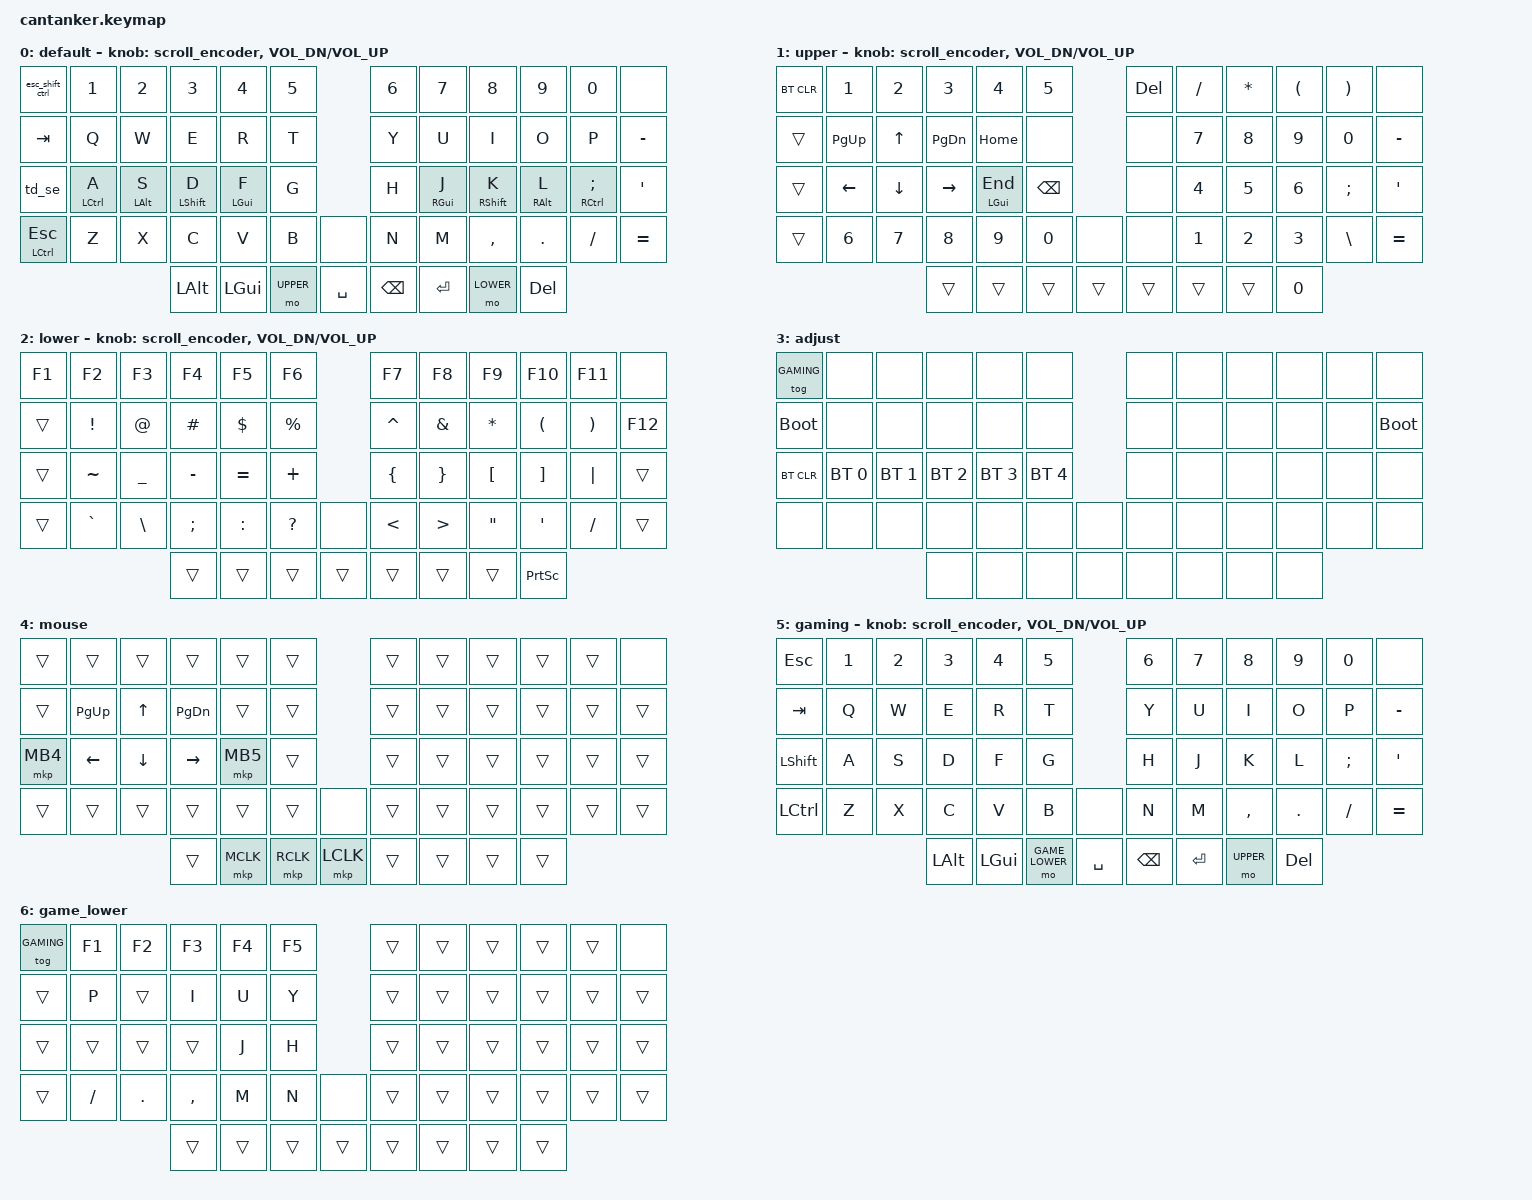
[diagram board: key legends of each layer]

#include <behaviors.dtsi>
#include <dt-bindings/zmk/keys.h>
#include <dt-bindings/zmk/bt.h>
#include <dt-bindings/zmk/ext_power.h>
#define ZMK_POINTING_DEFAULT_MOVE_VAL 600  // default: 600
#define ZMK_POINTING_DEFAULT_SCRL_VAL 240   // default: 10
#include <dt-bindings/zmk/pointing.h>

#define BASE 0
#define UPPER 1
#define LOWER 2
#define ADJUST 3
#define MOUSE 4
#define GAMING 5
#define GAME_LOWER 6

#define COMBO_TIMEOUT_MS 18

/ {

    macros {
        paren_macro: paren_macro {
            compatible = "zmk,behavior-macro";
            #binding-cells = <0>;
            wait-ms = <30>;
            tap-ms = <30>;
            bindings = <&kp LPAR &kp RPAR &kp LEFT>;
        };

        brkt_macro: brkt_macro {
            compatible = "zmk,behavior-macro";
            #binding-cells = <0>;
            wait-ms = <30>;
            tap-ms = <30>;
            bindings = <&kp LBKT &kp RBKT &kp LEFT>;
        };

        brace_macro: brace_macro {
            compatible = "zmk,behavior-macro";
            #binding-cells = <0>;
            wait-ms = <30>;
            tap-ms = <30>;
            bindings = <&kp LBRC &kp RBRC &kp LEFT>;
        };

        angle_macro: angle_macro {
            compatible = "zmk,behavior-macro";
            #binding-cells = <0>;
            wait-ms = <30>;
            tap-ms = <30>;
            bindings = <&kp LT &kp GT &kp LEFT>;
        };
    };

    combos {
        compatible = "zmk,combos";

        combo_lt_extend {
            timeout-ms = <COMBO_TIMEOUT_MS>;
            key-positions = <30 31>; // H + J
            bindings = <&angle_macro>;
        };
        combo_lt {
            timeout-ms = <COMBO_TIMEOUT_MS>;
            key-positions = <18 19>; // Y + U
            bindings = <&kp LT>;
        };
        combo_gt {
            timeout-ms = <COMBO_TIMEOUT_MS>;
            key-positions = <43 44>; // N + M
            bindings = <&kp GT>;
        };
        
        combo_lbrc_extend {
            timeout-ms = <COMBO_TIMEOUT_MS>;
            key-positions = <31 32>; // J + K
            bindings = <&brace_macro>; 
        };
        combo_lbrc {
            timeout-ms = <COMBO_TIMEOUT_MS>;
            key-positions = <19 20>; // U + I
            bindings = <&kp LBRC>; 
        };
        combo_rbrc {
            timeout-ms = <COMBO_TIMEOUT_MS>;
            key-positions = <44 45>; // M + ,
            bindings = <&kp RBRC>;
        };

        combo_lbkt_extend {
            timeout-ms = <COMBO_TIMEOUT_MS>;
            key-positions = <32 33>; // K + L
            bindings = <&brkt_macro>; 
        };
        combo_lbkt {
            timeout-ms = <COMBO_TIMEOUT_MS>;
            key-positions = <20 21>; // I + O
            bindings = <&kp LBKT>; 
        };
        combo_rbkt {
            timeout-ms = <COMBO_TIMEOUT_MS>;
            key-positions = <45 46>; // , + .
            bindings = <&kp RBKT>;
        };

        combo_lpar_extend {
            timeout-ms = <COMBO_TIMEOUT_MS>;
            key-positions = <33 34>; // L + ;
            bindings = <&paren_macro>;
        };
        combo_lpar {
            timeout-ms = <COMBO_TIMEOUT_MS>;
            key-positions = <21 22>; // O + P
            bindings = <&kp LPAR>;
        };
        combo_rpar {
            timeout-ms = <COMBO_TIMEOUT_MS>;
            key-positions = <46 47>; // . + /
            bindings = <&kp RPAR>;
        };
    };

    behaviors {
        scroll_encoder: scroll_encoder {
            compatible = "zmk,behavior-sensor-rotate";
            #sensor-binding-cells = <0>;
            bindings = <&msc SCRL_DOWN>, <&msc SCRL_UP>;
            tap-ms = <30>;
        };

        // Tap-Dance (Tap/Hold = Shift | Double-Tap/Hold = Super)
        td_se: tap_dance_shift_esc {
            compatible = "zmk,behavior-tap-dance";
            #binding-cells = <0>;
            tapping-term-ms = <200>;
            bindings = <&kp LSHIFT>, <&kp ESC>;
        };

        // Custom Home Row Mod (Tuned so you don't accidentally trigger modifiers when typing fast)
        hm: homerow_mods {
            compatible = "zmk,behavior-hold-tap";
            #binding-cells = <2>;
            tapping-term-ms = <250>;
            quick-tap-ms = <0>;
            flavor = "tap-preferred";

            // NEW: Prevents accidental modifiers during fast typing
            require-prior-idle-ms = <200>;

            bindings = <&kp>, <&kp>;
        };

        esc_ctrl: esc_ctrl_morph {
            compatible = "zmk,behavior-mod-morph";
            #binding-cells = <0>;
            bindings = <&kp ESC>, <&kp GRAVE>;
            mods = <(MOD_LCTL|MOD_RCTL)>;
        };

        // FIXED Morph 2: Tilde (~) on Shift + tap. If no Shift, fallback to Morph 1
        esc_shift_ctrl: esc_shift_ctrl_morph {
            compatible = "zmk,behavior-mod-morph";
            #binding-cells = <0>;
            bindings = <&esc_ctrl>, <&kp TILDE>;
            mods = <(MOD_LSFT|MOD_RSFT)>;
        };
    };

    conditional_layers {
        compatible = "zmk,conditional-layers";
        adjust_layer {
            if-layers = <LOWER UPPER>;
            then-layer = <ADJUST>;
        };
    };

    keymap {
        compatible = "zmk,keymap";

        default_layer {
            display-name = "default";
// ------------------------------------------------------------------------------------------------------------
// |  ESC   |  1  |  2  |  3   |  4   |  5   |                   |  6    |  7    |  8    |  9   |   0   |  NA   |
// |  TAB   |  Q  |  W  |  E   |  R   |  T   |                   |  Y    |  U    |  I    |  O   |   P   |   -   |
// |  SHIFT |  A  |  S  |  D   |  F   |  G   |                   |  H    |  J    |  K    |  L   |   ;   |   '   |
// |  CTRL  |  Z  |  X  |  C   |  V   |  B   |   NA   |          |  N    |  M    |  ,    |  .   |   /   | EQUAL |
//                      | ALT | GUI  | UPPER |  SPACE |  | SPACE | ENTER | LOWER |  DEL  |
            bindings = <
&esc_shift_ctrl     &kp N1          &kp N2          &kp N3          &kp N4          &kp N5                              &kp N6          &kp N7          &kp N8          &kp N9      &kp N0          &none
&kp TAB             &kp Q           &kp W           &kp E           &kp R           &kp T                               &kp Y           &kp U           &kp I           &kp O       &kp P           &kp MINUS
&td_se              &hm LCTRL A     &hm LALT S      &hm LSHIFT D    &hm LGUI F      &kp G                               &kp H           &hm RGUI J      &hm RSHIFT K    &hm RALT L  &hm RCTRL SEMI   &kp SQT
&mt LCTRL ESC       &kp Z           &kp X           &kp C           &kp V           &kp B       &none                   &kp N           &kp M           &kp COMMA       &kp DOT     &kp FSLH        &kp EQUAL
                                                    &kp LALT        &kp LGUI        &mo UPPER   &kp SPACE   &kp BSPC    &kp RET         &mo LOWER       &kp DEL
                        >;

            sensor-bindings = <&scroll_encoder &inc_dec_kp C_VOL_DN C_VOL_UP>;
        };

        upper_layer {
            display-name = "upper";
// CAPS = caps lock but it auto detects the end via space, escape, enter
// ------------------------------------------------------------------------------------------------------------
// |  BTCLEAR   |  1     |  2      |  3        |  4    |  5    |                    |  DEL   |  /    |  *    |  (   |   )   |  NA   |
// |  BOOT      |  PGUP  |  UP     |  PGDN     |  HOME |  NA   |                    |  NA    |  7    |  8    |  9   |   -   |   -   |
// |  T         |  LEFT  |  DOWN   |  RIGHT    |  END  |  NA   |                    |  NA    |  4    |  5    |  6   |   +   |   '   |
// |  T         |  6     |  7      |  8        |  9    |  0    |   NA   |           |  NA    |  1    |  2    |  3   |   /   | EQUAL |
//                                 | T         | CAPS  | T     |  T     |   | T     |  T     |  T    |  0    |
            bindings = <
&bt BT_CLR  &kp N1      &kp N2      &kp N3      &kp N4          &kp N5                      &kp DEL     &kp FSLH    &kp ASTRK   &kp LPAR    &kp RPAR  &none
&trans      &kp PG_UP   &kp UP      &kp PG_DN   &kp HOME        &none                       &none       &kp N7      &kp N8      &kp N9      &kp N0    &kp MINUS
&trans      &kp LEFT    &kp DOWN    &kp RIGHT   &hm LGUI END    &kp BSPC                    &none       &kp N4      &kp N5      &kp N6      &kp SEMI  &kp SQT
&trans      &kp N6      &kp N7      &kp N8      &kp N9          &kp N0  &none               &none       &kp N1      &kp N2      &kp N3      &kp BSLH  &kp EQUAL
                                    &trans      &trans          &trans  &trans      &trans  &trans      &trans      &kp N0>;

            sensor-bindings = <&scroll_encoder &inc_dec_kp C_VOL_DN C_VOL_UP>;
        };
        
        lower_layer {
            display-name = "lower";
// ------------------------------------------------------------------------------------------------------------
// |  F1  |  F2 |  F3 |  F4  |  F5  |  F6  |                   |  F7   |  F8   |  F9  |  F10  |  F11  |  NA   |
// |  T   |  !  |  @  |  #   |  $   |  %   |                   |  ^    |  &    |  *    |  (   |   )   |  F12  |
// | CAPS |  ~  |  _  |  -   |  =   |  +   |                   |  {    |  }    |  [    |  ]   |   |   |   T   |
// |  T   |  `  |  \  |  ;   |  :   |  ?   |   NA   |  |       |  <    |  >    |  "    |  '   |   /   | BOOT  |
//                    |  T   |  T   | T    |  T     |  | T     |  T    |  T    | PSCRN |
            bindings = <
&kp F1     &kp F2     &kp F3      &kp F4      &kp F5     &kp F6                                       &kp F7      &kp F8      &kp F9      &kp F10     &kp F11     &none
&trans     &kp EXCL   &kp AT      &kp HASH    &kp DLLR    &kp PRCNT                                   &kp CARET   &kp AMPS    &kp ASTRK   &kp LPAR    &kp RPAR    &kp F12
&trans     &kp TILDE  &kp UNDER   &kp MINUS   &kp EQUAL   &kp PLUS                                    &kp LBRC    &kp RBRC    &kp LBKT    &kp RBKT    &kp PIPE    &trans
&trans     &kp GRAVE  &kp BSLH    &kp SEMI    &kp COLON   &kp QMARK   &none                           &kp LT      &kp GT      &kp DQT     &kp SQT     &kp FSLH    &trans
                                  &trans      &trans      &trans      &trans              &trans      &trans      &trans      &kp PSCRN
            >;
            sensor-bindings = <&scroll_encoder &inc_dec_kp C_VOL_DN C_VOL_UP>;
        };

        adjust_layer {
            display-name = "adjust";
            bindings = <
&tog GAMING  &none        &none        &none        &none        &none                         &none &none &none &none &none &none
&bootloader  &none        &none        &none        &none        &none                         &none &none &none &none &none &bootloader
&bt BT_CLR   &bt BT_SEL 0 &bt BT_SEL 1 &bt BT_SEL 2 &bt BT_SEL 3 &bt BT_SEL 4                  &none &none &none &none &none &none
&none        &none        &none        &none        &none        &none         &none           &none &none &none &none &none &none
                                       &none        &none        &none         &none    &none  &none &none &none
            >;
        };

        mouse_layer {
            display-name = "mouse";
            bindings = <
&trans      &trans          &trans          &trans          &trans          &trans                              &trans &trans &trans &trans &trans &none
&trans      &kp PG_UP       &kp UP          &kp PG_DN       &trans          &trans                              &trans &trans &trans &trans &trans &trans
&mkp MB4    &kp LEFT        &kp DOWN        &kp RIGHT       &mkp MB5        &trans                              &trans &trans &trans &trans &trans &trans
&trans      &trans          &trans          &trans          &trans          &trans         &none                &trans &trans &trans &trans &trans &trans
                                            &trans          &mkp MCLK       &mkp RCLK      &mkp LCLK    &trans  &trans &trans &trans
            >;
        };

        gaming_layer {
            display-name = "gaming";
            bindings = <
&kp ESC    &kp N1 &kp N2 &kp N3 &kp N4 &kp N5                                   &kp N6 &kp N7 &kp N8 &kp N9 &kp N0 &none
&kp TAB    &kp Q  &kp W  &kp E  &kp R  &kp T                                    &kp Y  &kp U  &kp I  &kp O  &kp P  &kp MINUS
&kp LSHIFT &kp A  &kp S  &kp D  &kp F  &kp G                                    &kp H  &kp J  &kp K  &kp L  &kp SEMI &kp SQT
&kp LCTRL  &kp Z  &kp X  &kp C  &kp V  &kp B    &none                 &kp N     &kp M  &kp COMMA &kp DOT &kp FSLH &kp EQUAL
                         &kp LALT &kp LGUI &mo GAME_LOWER   &kp SPACE &kp BSPC  &kp RET  &mo UPPER &kp DEL
            >;
            sensor-bindings = <&scroll_encoder &inc_dec_kp C_VOL_DN C_VOL_UP>;
        };
    
// set some useful stuff on the right side like arrow keys?
    game_lower_layer {
            display-name = "game_lower";
            bindings = <
// Map specific game macros, F-keys, or inventory shortcuts here
&tog GAMING     &kp F1      &kp F2      &kp F3      &kp F4  &kp F5                          &trans &trans &trans &trans &trans &none
&trans          &kp P       &trans      &kp I       &kp U   &kp Y                           &trans &trans &trans &trans &trans &trans
&trans          &trans      &trans      &trans      &kp J   &kp H                           &trans &trans &trans &trans &trans &trans
&trans          &kp FSLH    &kp DOT     &kp COMMA   &kp M   &kp N    &none                  &trans &trans &trans &trans &trans &trans
                                        &trans      &trans  &trans   &trans        &trans   &trans &trans &trans
            >;
        };

    };
};
